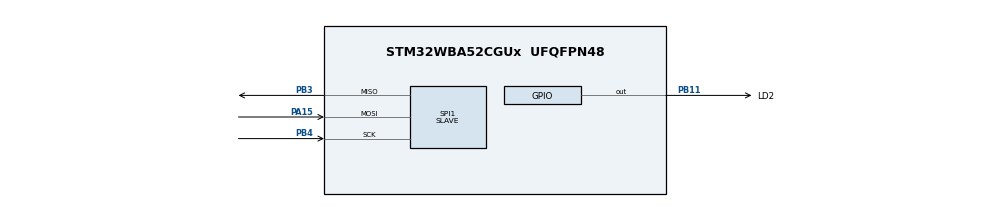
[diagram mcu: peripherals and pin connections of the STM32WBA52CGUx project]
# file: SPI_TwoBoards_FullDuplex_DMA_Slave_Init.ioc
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CORTEX_M33_NS.userName=CORTEX_M33
GPDMA1.DESTINC_GPDMACH1=DMA_DINC_INCREMENTED
GPDMA1.DESTINC_GPDMACH2=DMA_DINC_FIXED
GPDMA1.DIRECTION_GPDMACH2=DMA_MEMORY_TO_PERIPH
GPDMA1.IPHANDLE_GPDMACH1-SIMPLEREQUEST_GPDMACH1=__NULL
GPDMA1.IPHANDLE_GPDMACH2-SIMPLEREQUEST_GPDMACH2=__NULL
GPDMA1.REQUEST_GPDMACH1=GPDMA1_REQUEST_SPI1_RX
GPDMA1.REQUEST_GPDMACH2=GPDMA1_REQUEST_SPI1_TX
GPDMA1.SRCINC_GPDMACH2=DMA_SINC_INCREMENTED
Mcu.Family=STM32WBA
Mcu.Name=STM32WBA52CGUx
Mcu.Package=UFQFPN48
NVIC.GPDMA1_Channel1_IRQn=true\:0\:0\:false\:false\:true\:false\:true\:true
NVIC.GPDMA1_Channel2_IRQn=true\:0\:0\:false\:false\:true\:false\:true\:true
NVIC.PriorityGroup=NVIC_PRIORITYGROUP_4
OSC_IN.Mode=HSE-External-Oscillator
OSC_IN.Signal=RCC_OSC_IN
OSC_OUT.Mode=HSE-External-Oscillator
OSC_OUT.Signal=RCC_OSC_OUT
PA15\ (JTDI).GPIO_PuPd=GPIO_PULLDOWN
PA15\ (JTDI).GPIO_Speed=GPIO_SPEED_FREQ_HIGH
PA15\ (JTDI).Mode=Full_Duplex_Slave
PA15\ (JTDI).Signal=SPI1_MOSI
PB11.GPIO_Label=LD2
PB11.PinState=GPIO_PIN_SET
PB11.Signal=GPIO_Output
PB3\ (JTDO/TRACESWO).Mode=Full_Duplex_Slave
PB3\ (JTDO/TRACESWO).Signal=SPI1_MISO
PB4\ (NJTRST).GPIO_PuPd=GPIO_PULLDOWN
PB4\ (NJTRST).GPIO_Speed=GPIO_SPEED_FREQ_HIGH
PB4\ (NJTRST).Mode=Full_Duplex_Slave
PB4\ (NJTRST).Signal=SPI1_SCK
ProjectManager.HeapSize=0x200
ProjectManager.StackSize=0x400
ProjectManager.TargetToolchain=EWARM V9.20
RCC.ADCFreq_Value=100000000
RCC.AHB5CLKDivider=DIV4
RCC.AHBFreq_Value=100000000
RCC.APB1Freq_Value=100000000
RCC.APB1TimFreq_Value=100000000
RCC.APB2Freq_Value=100000000
RCC.APB2TimFreq_Value=100000000
RCC.CortexFreq_Value=12500000
RCC.HCLKFreq_Value=100000000
RCC.HSE_VALUE=32000000
RCC.HSI_VALUE=16000000
RCC.LSE_VALUE=32768
RCC.PLLFRACN=0
RCC.PLLM=4
RCC.PLLN=25
RCC.PLLSourceVirtual=RCC_PLLSOURCE_HSE
RCC.SYSCLKFreq_VALUE=100000000
RCC.SYSCLKSourceVirtual=RCC_SYSCLKSOURCE_PLLCLK
RCC.VCOOutputFreq_Value=200000000
SPI1.CLKPhase=SPI_PHASE_1EDGE
SPI1.CLKPolarity=SPI_POLARITY_LOW
SPI1.DataSize=SPI_DATASIZE_8BIT
SPI1.Direction=SPI_DIRECTION_2LINES
SPI1.Mode=SPI_MODE_SLAVE
SPI1.VirtualType=VM_SLAVE
VP_GPDMA1_VS_GPDMACH1.Mode=SIMPLEREQUEST_GPDMACH1
VP_GPDMA1_VS_GPDMACH2.Mode=SIMPLEREQUEST_GPDMACH2
VP_ICACHE_VS_ICACHE.Mode=DirectMappedCache
VP_PWR_VS_SECSignals.Mode=Security/Privilege
board=custom

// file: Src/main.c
/* USER CODE BEGIN Header */
/**
  ******************************************************************************
  * @file    Examples_LL/SPI/SPI_TwoBoards_FullDuplex_DMA_Slave_Init/Src/main.c
  * @author  MCD Application Team
  * @brief   This example describes how to send/receive bytes over SPI IP using
  *          the STM32WBAxx SPI LL API.
  *          Peripheral initialization done using LL unitary services functions.
  ******************************************************************************
  * @attention
  *
  * <h2><center>&copy; Copyright (c) 2022 STMicroelectronics.
  * All rights reserved.</center></h2>
  *
  * This software component is licensed by ST under BSD 3-Clause license,
  * the "License"; You may not use this file except in compliance with the
  * License. You may obtain a copy of the License at:
  *                        opensource.org/licenses/BSD-3-Clause
  *
  ******************************************************************************
  */
/* USER CODE END Header */
#include "main.h"

/* USER CODE BEGIN PV */

__IO uint8_t ubButtonPress = 0;

/* Buffer used for transmission */
uint8_t aTxBuffer[] = "**** SPI_TwoBoards_FullDuplex_DMA communication **** SPI_TwoBoards_FullDuplex_DMA communication **** SPI_TwoBoards_FullDuplex_DMA communication ****";
uint8_t ubNbDataToTransmit = sizeof(aTxBuffer);
__IO uint8_t ubTransmissionComplete = 0;

/* Buffer used for reception */
uint8_t aRxBuffer[sizeof(aTxBuffer)];
uint8_t ubNbDataToReceive  = sizeof(aTxBuffer);
__IO uint8_t ubReceptionComplete = 0;

/* USER CODE END PV */

void SystemClock_Config(void);
static void MX_GPIO_Init(void);
static void MX_GPDMA1_Init(void);
static void MX_ICACHE_Init(void);
static void MX_SPI1_Init(void);
/* USER CODE BEGIN PFP */

void     SystemClock_Config(void);
void     Activate_SPI(void);
void     LED_On(void);
void     LED_Blinking(uint32_t Period);
void     WaitAndCheckEndOfTransfer(void);
uint8_t  Buffercmp8(uint8_t *pBuffer1, uint8_t *pBuffer2, uint8_t BufferLength);

/* USER CODE END PFP */

int main(void)
{

  /* MCU Configuration--------------------------------------------------------*/

  /* Reset of all peripherals, Initializes the Flash interface and the Systick. */

  /* System interrupt init*/
  NVIC_SetPriorityGrouping(NVIC_PRIORITYGROUP_4);

  /* Enable PWR clock interface */

  LL_AHB4_GRP1_EnableClock(LL_AHB4_GRP1_PERIPH_PWR);

  /* Configure the system clock */
  SystemClock_Config();

  /* Initialize all configured peripherals */
  MX_GPIO_Init();
  MX_GPDMA1_Init();
  MX_ICACHE_Init();
  MX_SPI1_Init();
  /* USER CODE BEGIN 2 */

  /* Configure the DMA1_Channel2 functional parameters */
  LL_DMA_ConfigAddresses(GPDMA1, LL_DMA_CHANNEL_2, (uint32_t)aTxBuffer, (uint32_t)&(SPI1->TXDR));
  LL_DMA_SetBlkDataLength(GPDMA1, LL_DMA_CHANNEL_2, ubNbDataToReceive);
  LL_DMA_SetPeriphRequest(GPDMA1, LL_DMA_CHANNEL_2, LL_GPDMA1_REQUEST_SPI1_TX);

  /* Configure the DMA1_Channel1 functional parameters */
  LL_DMA_ConfigAddresses(GPDMA1, LL_DMA_CHANNEL_1, (uint32_t)&(SPI1->RXDR), (uint32_t)aRxBuffer);
  LL_DMA_SetBlkDataLength(GPDMA1, LL_DMA_CHANNEL_1, ubNbDataToTransmit);

  LL_DMA_SetPeriphRequest(GPDMA1, LL_DMA_CHANNEL_1, LL_GPDMA1_REQUEST_SPI1_RX);

  /* Enable DMA interrupts complete/error */
  LL_DMA_EnableIT_TC(GPDMA1, LL_DMA_CHANNEL_2);
  LL_DMA_EnableIT_DTE(GPDMA1, LL_DMA_CHANNEL_2);
  LL_DMA_EnableIT_TC(GPDMA1, LL_DMA_CHANNEL_1);
  LL_DMA_EnableIT_DTE(GPDMA1, LL_DMA_CHANNEL_1);

  /* Initialize FFIFO Threshold */
  LL_SPI_SetFIFOThreshold(SPI1, LL_SPI_FIFO_TH_01DATA);

  /* Configure SPI1 DMA transfer interrupts */
  /* Enable DMA TX Interrupt */
  LL_SPI_EnableDMAReq_TX(SPI1);

  /* Configure SPI1 DMA transfer interrupts */
  /* Enable DMA RX Interrupt */
  LL_SPI_EnableDMAReq_RX(SPI1);

  /* Enable the SPI1 peripheral */
  Activate_SPI();

  /* Wait for the end of the transfer and check received data */
  /* LED blinking FAST during waiting time */
  WaitAndCheckEndOfTransfer();
  /* USER CODE END 2 */

  /* Infinite loop */
  while (1)
  {

  }
}

void SystemClock_Config(void)
{
  LL_FLASH_SetLatency(LL_FLASH_LATENCY_3);
  while(LL_FLASH_GetLatency()!= LL_FLASH_LATENCY_3)
  {
  }

  LL_PWR_SetRegulVoltageScaling(LL_PWR_REGU_VOLTAGE_SCALE1);
  LL_RCC_HSE_Enable();

   /* Wait till HSE is ready */
  while(LL_RCC_HSE_IsReady() != 1)
  {
  }

  LL_RCC_PLL1_ConfigDomain_SYS(LL_RCC_PLL1SOURCE_HSE, 4, 25, 2);
  LL_RCC_PLL1_EnableDomain_PLL1R();
  LL_RCC_PLL1_SetVCOInputRange(LL_RCC_PLLINPUTRANGE_8_16);
  LL_RCC_PLL1_Enable();

   /* Wait till PLL is ready */
  while(LL_RCC_PLL1_IsReady() != 1)
  {
  }

  LL_RCC_SetSysClkSource(LL_RCC_SYS_CLKSOURCE_PLL1R);

   /* Wait till System clock is ready */
  while(LL_RCC_GetSysClkSource() != LL_RCC_SYS_CLKSOURCE_STATUS_PLL1R)
  {
  }

  LL_RCC_SetAHBPrescaler(LL_RCC_SYSCLK_DIV_1);
  LL_RCC_SetAHB5Prescaler(LL_RCC_AHB5_DIV_4);
  LL_RCC_SetAPB1Prescaler(LL_RCC_APB1_DIV_1);
  LL_RCC_SetAPB2Prescaler(LL_RCC_APB2_DIV_1);
  LL_RCC_SetAPB7Prescaler(LL_RCC_APB7_DIV_1);

  LL_Init1msTick(100000000);

  LL_SetSystemCoreClock(100000000);
}

static void MX_GPDMA1_Init(void)
{

  /* Peripheral clock enable */
  LL_AHB1_GRP1_EnableClock(LL_AHB1_GRP1_PERIPH_GPDMA1);

  /* GPDMA1 interrupt Init */
  NVIC_SetPriority(GPDMA1_Channel1_IRQn, NVIC_EncodePriority(NVIC_GetPriorityGrouping(),0, 0));
  NVIC_EnableIRQ(GPDMA1_Channel1_IRQn);
  NVIC_SetPriority(GPDMA1_Channel2_IRQn, NVIC_EncodePriority(NVIC_GetPriorityGrouping(),0, 0));
  NVIC_EnableIRQ(GPDMA1_Channel2_IRQn);

}

static void MX_ICACHE_Init(void)
{

  /** Enable instruction cache in 1-way (direct mapped cache)
  */
  LL_ICACHE_SetMode(LL_ICACHE_1WAY);
  LL_ICACHE_Enable();

}

static void MX_SPI1_Init(void)
{

  LL_SPI_InitTypeDef SPI_InitStruct = {0};

  LL_GPIO_InitTypeDef GPIO_InitStruct = {0};
  LL_DMA_InitTypeDef DMA_InitStruct = {0};

  LL_RCC_SetSPIClockSource(LL_RCC_SPI1_CLKSOURCE_PCLK2);

  /* Peripheral clock enable */
  LL_APB2_GRP1_EnableClock(LL_APB2_GRP1_PERIPH_SPI1);

  LL_AHB2_GRP1_EnableClock(LL_AHB2_GRP1_PERIPH_GPIOB);
  LL_AHB2_GRP1_EnableClock(LL_AHB2_GRP1_PERIPH_GPIOA);
  /**SPI1 GPIO Configuration
  PB4 (NJTRST)   ------> SPI1_SCK
  PB3 (JTDO/TRACESWO)   ------> SPI1_MISO
  PA15 (JTDI)   ------> SPI1_MOSI
  */
  GPIO_InitStruct.Pin = LL_GPIO_PIN_4;
  GPIO_InitStruct.Mode = LL_GPIO_MODE_ALTERNATE;
  GPIO_InitStruct.Speed = LL_GPIO_SPEED_FREQ_HIGH;
  GPIO_InitStruct.OutputType = LL_GPIO_OUTPUT_PUSHPULL;
  GPIO_InitStruct.Pull = LL_GPIO_PULL_DOWN;
  GPIO_InitStruct.Alternate = LL_GPIO_AF_5;
  LL_GPIO_Init(GPIOB, &GPIO_InitStruct);

  GPIO_InitStruct.Pin = LL_GPIO_PIN_3;
  GPIO_InitStruct.Mode = LL_GPIO_MODE_ALTERNATE;
  GPIO_InitStruct.Speed = LL_GPIO_SPEED_FREQ_LOW;
  GPIO_InitStruct.OutputType = LL_GPIO_OUTPUT_PUSHPULL;
  GPIO_InitStruct.Pull = LL_GPIO_PULL_NO;
  GPIO_InitStruct.Alternate = LL_GPIO_AF_5;
  LL_GPIO_Init(GPIOB, &GPIO_InitStruct);

  GPIO_InitStruct.Pin = LL_GPIO_PIN_15;
  GPIO_InitStruct.Mode = LL_GPIO_MODE_ALTERNATE;
  GPIO_InitStruct.Speed = LL_GPIO_SPEED_FREQ_HIGH;
  GPIO_InitStruct.OutputType = LL_GPIO_OUTPUT_PUSHPULL;
  GPIO_InitStruct.Pull = LL_GPIO_PULL_DOWN;
  GPIO_InitStruct.Alternate = LL_GPIO_AF_5;
  LL_GPIO_Init(GPIOA, &GPIO_InitStruct);

  /* SPI1 DMA Init */

  /* GPDMA1_REQUEST_SPI1_TX Init */
  DMA_InitStruct.SrcAddress = 0x00000000U;
  DMA_InitStruct.DestAddress = 0x00000000U;
  DMA_InitStruct.Direction = LL_DMA_DIRECTION_MEMORY_TO_PERIPH;
  DMA_InitStruct.BlkHWRequest = LL_DMA_HWREQUEST_SINGLEBURST;
  DMA_InitStruct.DataAlignment = LL_DMA_DATA_ALIGN_ZEROPADD;
  DMA_InitStruct.SrcBurstLength = 1;
  DMA_InitStruct.DestBurstLength = 1;
  DMA_InitStruct.SrcDataWidth = LL_DMA_SRC_DATAWIDTH_BYTE;
  DMA_InitStruct.DestDataWidth = LL_DMA_DEST_DATAWIDTH_BYTE;
  DMA_InitStruct.SrcIncMode = LL_DMA_SRC_INCREMENT;
  DMA_InitStruct.DestIncMode = LL_DMA_DEST_FIXED;
  DMA_InitStruct.Priority = LL_DMA_LOW_PRIORITY_LOW_WEIGHT;
  DMA_InitStruct.BlkDataLength = 0x00000000U;
  DMA_InitStruct.TriggerMode = LL_DMA_TRIGM_BLK_TRANSFER;
  DMA_InitStruct.TriggerPolarity = LL_DMA_TRIG_POLARITY_MASKED;
  DMA_InitStruct.TriggerSelection = 0x00000000U;
  DMA_InitStruct.Request = LL_GPDMA1_REQUEST_SPI1_TX;
  DMA_InitStruct.TransferEventMode = LL_DMA_TCEM_BLK_TRANSFER;
  DMA_InitStruct.SrcAllocatedPort = LL_DMA_SRC_ALLOCATED_PORT0;
  DMA_InitStruct.DestAllocatedPort = LL_DMA_DEST_ALLOCATED_PORT0;
  DMA_InitStruct.LinkAllocatedPort = LL_DMA_LINK_ALLOCATED_PORT1;
  DMA_InitStruct.LinkStepMode = LL_DMA_LSM_FULL_EXECUTION;
  DMA_InitStruct.LinkedListBaseAddr = 0x00000000U;
  DMA_InitStruct.LinkedListAddrOffset = 0x00000000U;
  LL_DMA_Init(GPDMA1, LL_DMA_CHANNEL_2, &DMA_InitStruct);

  /* GPDMA1_REQUEST_SPI1_RX Init */
  DMA_InitStruct.SrcAddress = 0x00000000U;
  DMA_InitStruct.DestAddress = 0x00000000U;
  DMA_InitStruct.Direction = LL_DMA_DIRECTION_PERIPH_TO_MEMORY;
  DMA_InitStruct.BlkHWRequest = LL_DMA_HWREQUEST_SINGLEBURST;
  DMA_InitStruct.DataAlignment = LL_DMA_DATA_ALIGN_ZEROPADD;
  DMA_InitStruct.SrcBurstLength = 1;
  DMA_InitStruct.DestBurstLength = 1;
  DMA_InitStruct.SrcDataWidth = LL_DMA_SRC_DATAWIDTH_BYTE;
  DMA_InitStruct.DestDataWidth = LL_DMA_DEST_DATAWIDTH_BYTE;
  DMA_InitStruct.SrcIncMode = LL_DMA_SRC_FIXED;
  DMA_InitStruct.DestIncMode = LL_DMA_DEST_INCREMENT;
  DMA_InitStruct.Priority = LL_DMA_LOW_PRIORITY_LOW_WEIGHT;
  DMA_InitStruct.BlkDataLength = 0x00000000U;
  DMA_InitStruct.TriggerMode = LL_DMA_TRIGM_BLK_TRANSFER;
  DMA_InitStruct.TriggerPolarity = LL_DMA_TRIG_POLARITY_MASKED;
  DMA_InitStruct.TriggerSelection = 0x00000000U;
  DMA_InitStruct.Request = LL_GPDMA1_REQUEST_SPI1_RX;
  DMA_InitStruct.TransferEventMode = LL_DMA_TCEM_BLK_TRANSFER;
  DMA_InitStruct.SrcAllocatedPort = LL_DMA_SRC_ALLOCATED_PORT0;
  DMA_InitStruct.DestAllocatedPort = LL_DMA_DEST_ALLOCATED_PORT0;
  DMA_InitStruct.LinkAllocatedPort = LL_DMA_LINK_ALLOCATED_PORT1;
  DMA_InitStruct.LinkStepMode = LL_DMA_LSM_FULL_EXECUTION;
  DMA_InitStruct.LinkedListBaseAddr = 0x00000000U;
  DMA_InitStruct.LinkedListAddrOffset = 0x00000000U;
  LL_DMA_Init(GPDMA1, LL_DMA_CHANNEL_1, &DMA_InitStruct);

  /* SPI1 parameter configuration*/
  SPI_InitStruct.TransferDirection = LL_SPI_FULL_DUPLEX;
  SPI_InitStruct.Mode = LL_SPI_MODE_SLAVE;
  SPI_InitStruct.DataWidth = LL_SPI_DATAWIDTH_8BIT;
  SPI_InitStruct.ClockPolarity = LL_SPI_POLARITY_LOW;
  SPI_InitStruct.ClockPhase = LL_SPI_PHASE_1EDGE;
  SPI_InitStruct.NSS = LL_SPI_NSS_SOFT;
  SPI_InitStruct.BitOrder = LL_SPI_MSB_FIRST;
  SPI_InitStruct.CRCCalculation = LL_SPI_CRCCALCULATION_DISABLE;
  SPI_InitStruct.CRCPoly = 0x7;
  LL_SPI_Init(SPI1, &SPI_InitStruct);
  LL_SPI_SetStandard(SPI1, LL_SPI_PROTOCOL_MOTOROLA);
  LL_SPI_DisableNSSPulseMgt(SPI1);

}

static void MX_GPIO_Init(void)
{
  LL_GPIO_InitTypeDef GPIO_InitStruct = {0};

  /* GPIO Ports Clock Enable */
  LL_AHB2_GRP1_EnableClock(LL_AHB2_GRP1_PERIPH_GPIOB);
  LL_AHB2_GRP1_EnableClock(LL_AHB2_GRP1_PERIPH_GPIOA);

  /**/
  LL_GPIO_SetOutputPin(LD2_GPIO_Port, LD2_Pin);

  /**/
  GPIO_InitStruct.Pin = LD2_Pin;
  GPIO_InitStruct.Mode = LL_GPIO_MODE_OUTPUT;
  GPIO_InitStruct.Speed = LL_GPIO_SPEED_FREQ_LOW;
  GPIO_InitStruct.OutputType = LL_GPIO_OUTPUT_PUSHPULL;
  GPIO_InitStruct.Pull = LL_GPIO_PULL_NO;
  LL_GPIO_Init(LD2_GPIO_Port, &GPIO_InitStruct);

}

/* USER CODE BEGIN 4 */

/**
  * @brief  This function Activate SPI1
  * @param  None
  * @retval None
  */
void Activate_SPI(void)
{
  /* Enable SPI1 */
  LL_SPI_Enable(SPI1);

  /* Enable DMA Channels */
  LL_DMA_EnableChannel(GPDMA1, LL_DMA_CHANNEL_2);
  LL_DMA_EnableChannel(GPDMA1, LL_DMA_CHANNEL_1);
}

/**
  * @brief  Turn-on LD1.
  * @param  None
  * @retval None
  */
void LED_On(void)
{
  /* Turn LD1 on */
  LL_GPIO_ResetOutputPin(LD1_GPIO_Port, LD1_Pin);
}

/**
  * @brief  Set LD1 to Blinking mode for an infinite loop (toggle period based on value provided as input parameter).
  * @param  Period : Period of time (in ms) between each toggling of LED
  *   This parameter can be user defined values. Pre-defined values used in that example are :
  *     @arg LED_BLINK_FAST : Fast Blinking
  *     @arg LED_BLINK_SLOW : Slow Blinking
  *     @arg LED_BLINK_ERROR : Error specific Blinking
  * @retval None
  */
void LED_Blinking(uint32_t Period)
{
  /* Toggle LD1 in an infinite loop */
  while (1)
  {
    LL_GPIO_TogglePin(LD1_GPIO_Port, LD1_Pin);
    LL_mDelay(Period);
  }
}

/**
  * @brief  Wait end of transfer and check if received Data are well.
  * @param  None
  * @retval None
  */
void WaitAndCheckEndOfTransfer(void)
{
  /* 1 - Wait end of transmission */
  while (ubTransmissionComplete != 1)
  {
  }
  /* Disable GPDMA1 Tx Channel */
  LL_DMA_DisableChannel(GPDMA1, LL_DMA_CHANNEL_1);
  /* 2 - Wait end of reception */
  while (ubReceptionComplete != 1)
  {
  }
  /* Disable GPDMA1 Rx Channel */
  LL_DMA_DisableChannel(GPDMA1, LL_DMA_CHANNEL_2);
  /* 3 - Compare Transmit data to receive data */
  if (Buffercmp8((uint8_t *)aTxBuffer, (uint8_t *)aRxBuffer, ubNbDataToTransmit))
  {
    /* Processing Error */
    LED_Blinking(LED_BLINK_ERROR);
  }
  else
  {
    /* Turn On Led if data are well received */
    LED_On();
  }
}

/**
* @brief Compares two 8-bit buffers and returns the comparison result.
* @param pBuffer1: pointer to the source buffer to be compared to.
* @param pBuffer2: pointer to the second source buffer to be compared to the first.
* @param BufferLength: buffer's length.
* @retval   0: Comparison is OK (the two Buffers are identical)
*           Value different from 0: Comparison is NOK (Buffers are different)
*/
uint8_t Buffercmp8(uint8_t *pBuffer1, uint8_t *pBuffer2, uint8_t BufferLength)
{
  while (BufferLength--)
  {
    if (*pBuffer1 != *pBuffer2)
    {
      return 1;
    }

    pBuffer1++;
    pBuffer2++;
  }

  return 0;
}

/******************************************************************************/
/*   USER IRQ HANDLER TREATMENT Functions                                     */
/******************************************************************************/
/**
  * @brief  Function to manage USER push-button
  * @param  None
  * @retval None
  */
void UserButton_Callback(void)
{
  /* Update USER push-button variable : to be checked in waiting loop in main program */
  ubButtonPress = 1;
}

/**
  * @brief  Function called from GPDMA1 IRQ Handler when Rx transfer is completed
  * @param  None
  * @retval None
  */
void GPDMA1_ReceiveComplete_Callback(void)
{
  /* DMA Rx transfer completed */
  ubReceptionComplete = 1;
}

/**
  * @brief  Function called from GPDMA1 IRQ Handler when Tx transfer is completed
  * @param  None
  * @retval None
  */
void GPDMA1_TransmitComplete_Callback(void)
{
  /* DMA Tx transfer completed */
  ubTransmissionComplete = 1;
}

/**
  * @brief  Function called in case of error detected in SPI IT Handler
  * @param  None
  * @retval None
  */
void SPI1_TransferError_Callback(void)
{
  /* Disable GPDMA1 Rx Channel */
  LL_DMA_DisableChannel(GPDMA1, LL_DMA_CHANNEL_2);

  /* Disable GPDMA1 Tx Channel */
  LL_DMA_DisableChannel(GPDMA1, LL_DMA_CHANNEL_1);
  /* Set LD1 to Blinking mode to indicate error occurs */
  LED_Blinking(LED_BLINK_ERROR);
}

/* USER CODE END 4 */

void Error_Handler(void)
{
}
